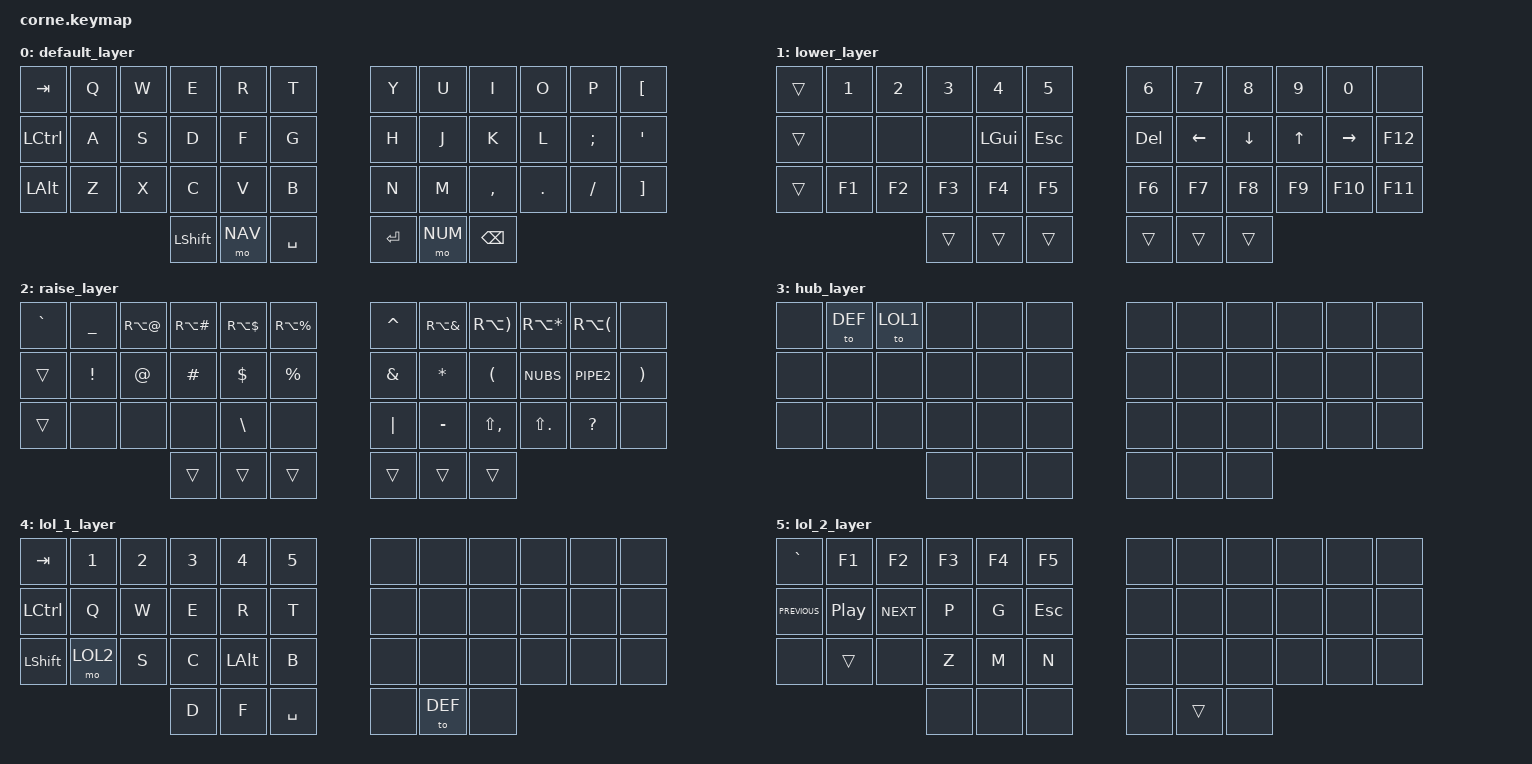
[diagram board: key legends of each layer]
/*
 * Copyright (c) 2020 The ZMK Contributors
 *
 * SPDX-License-Identifier: MIT
 */

#include <behaviors.dtsi>
#include <dt-bindings/zmk/keys.h>
#include <dt-bindings/zmk/bt.h>

#define ___ &trans

#define eAT RA(AT)
#define eCLN LS(DOT)
#define eDLLR RA(DLLR)
#define eEURO RA(PRCNT)
#define eHASH RA(HASH)
#define eLBKT RA(STAR)
#define eLBRC RA(AMPS)
#define eRBKT RA(LPAR)
#define eRBRC RA(RPAR)
#define eSEMI LS(COMMA)
#define VOLU C_VOLUME_UP
#define VOLD C_VOLUME_DOWN
#define MUTE C_MUTE
#define PLAY C_PLAY_PAUSE
#define NEXT C_NEXT
#define PREV C_PREVIOUS

#define DEF 0
#define NUM 1
#define NAV 2
#define HUB 3
#define LOL1 4
#define LOL2 5

/ {
        conditional_layers {
                compatible = "zmk,conditional-layers";
                tri_layer {
                        if-layers = <NUM NAV>;
                        then-layer = <HUB>;
                };
        };
        keymap {
                compatible = "zmk,keymap";

                default_layer {
                        bindings = <
// ┌───────────┬───────────┬───────────┬───────────┬───────────┬───────────┐   ┌───────────┬───────────┬───────────┬───────────┬───────────┬───────────┐
// │ TAB       │ Q         │ W         │ E         │ R         │ T         │   │ Y         │ U         │ I         │ O         │ P         │ Ü         │
     &kp TAB     &kp Q       &kp W       &kp E       &kp R       &kp T           &kp Y       &kp U       &kp I       &kp O       &kp P       &kp LBKT
// ├───────────┼───────────┼───────────┼───────────┼───────────┼───────────┤   ├───────────┼───────────┼───────────┼───────────┼───────────┼───────────┤
// │ CTRL      │ A         │ S         │ D         │ F         │ G         │   │ H         │ J         │ K         │ L         │ Ö         │ Ä         │
     &kp LCTRL   &kp A       &kp S       &kp D       &kp F       &kp G           &kp H       &kp J       &kp K       &kp L       &kp SEMI    &kp SQT
// ├───────────┼───────────┼───────────┼───────────┼───────────┼───────────┤   ├───────────┼───────────┼───────────┼───────────┼───────────┼───────────┤
// │ LALT      │ Z         │ X         │ C         │ V         │ B         │   │ N         │ M         │ ,         │ .         │ -         │ Õ         │
     &kp LALT    &kp Z       &kp X       &kp C       &kp V       &kp B           &kp N       &kp M       &kp COMMA   &kp DOT     &kp FSLH    &kp RBKT
// └───────────┴───────────┴───────────┼───────────┼───────────┼───────────┤   ├───────────┼───────────┼───────────┼───────────┴───────────┴───────────┘
//                                     │ SHFT      │ RSE       │ SPC       │   │ ENT       │ LWR       │ BKSP      │
                                         &kp LSHFT   &mo NAV     &kp SPACE       &kp RET     &mo NUM     &kp BSPC
//                                     └───────────┴───────────┴───────────┘   └───────────┴───────────┴───────────┘
                        >;
                };
                lower_layer {
                        bindings = <
// ┌───────────┬───────────┬───────────┬───────────┬───────────┬───────────┐   ┌───────────┬───────────┬───────────┬───────────┬───────────┬───────────┐
// │ TAB       │ 1         │ 2         │ 3         │ 4         │ 5         │   │ 6         │ 7         │ 8         │ 9         │ 0         │           │
     ___         &kp N1      &kp N2      &kp N3      &kp N4      &kp N5          &kp N6      &kp N7      &kp N8      &kp N9      &kp N0      &none
// ├───────────┼───────────┼───────────┼───────────┼───────────┼───────────┤   ├───────────┼───────────┼───────────┼───────────┼───────────┼───────────┤
// │ CTRL      │           │           │           │ LGUI      │ ESC       │   │ DEL       │ ←         │ ↓         │ ↑         │ →         │           │
     ___         &none       &none       &none       &kp LGUI    &kp ESC         &kp DEL     &kp LEFT    &kp DOWN    &kp UP      &kp RIGHT   &kp F12
// ├───────────┼───────────┼───────────┼───────────┼───────────┼───────────┤   ├───────────┼───────────┼───────────┼───────────┼───────────┼───────────┤
// │ LALT      │ F1        │ F2        │ F3        │ F4        │ F5        │   │ F6        │ F7        │ F8        │ F9        │ F10       │           │
     ___         &kp F1      &kp F2      &kp F3      &kp F4      &kp F5          &kp F6      &kp F7      &kp F8      &kp F9      &kp F10     &kp F11
// └───────────┴───────────┴───────────┼───────────┼───────────┼───────────┤   ├───────────┼───────────┼───────────┼───────────┴───────────┴───────────┘
//                                     │ SHFT      │ RSE       │ SPC       │   │ ENT       │ LWR       │ BKSP      │
                                         ___         ___         ___             ___         ___         ___
//                                     └───────────┴───────────┴───────────┘   └───────────┴───────────┴───────────┘
                        >;
                };

                raise_layer {
                        bindings = <
// ┌───────────┬───────────┬───────────┬───────────┬───────────┬───────────┐   ┌───────────┬───────────┬───────────┬───────────┬───────────┬───────────┐
// │ ˇ         │ ?         │ @         │ £         │ $         │ €         │   │ &         │ {         │ {         │ [         │ ]         │           │
     &kp GRAVE   &kp UNDER   &kp eAT     &kp eHASH   &kp eDLLR   &kp eEURO       &kp CARET   &kp eLBRC   &kp eRBRC   &kp eLBKT   &kp eRBKT   &none
// ├───────────┼───────────┼───────────┼───────────┼───────────┼───────────┤   ├───────────┼───────────┼───────────┼───────────┼───────────┼───────────┤
// │ CTRL      │ !         │ "         │ #         │ ¤         │ %         │   │ /         │ (         │ )         │ <         │ >         │ =         │
     ___         &kp EXCL    &kp AT      &kp HASH    &kp DLLR    &kp PRCNT       &kp AMPS    &kp STAR    &kp LPAR    &kp NUBS    &kp PIPE2   &kp RPAR
// ├───────────┼───────────┼───────────┼───────────┼───────────┼───────────┤   ├───────────┼───────────┼───────────┼───────────┼───────────┼───────────┤
// │ LALT      │           │           │           │ '         │           │   │ *         │ +         │ ;         │ :         │ _         │           │
     ___         &none       &none       &none       &kp BSLH    &none           &kp PIPE    &kp MINUS   &kp eSEMI   &kp eCLN    &kp QMARK   &none
// └───────────┴───────────┴───────────┼───────────┼───────────┼───────────┤   ├───────────┼───────────┼───────────┼───────────┴───────────┴───────────┘
//                                     │ SHFT      │ RSE       │ SPC       │   │ ENT       │ LWR       │ BKSP      │
                                         ___         ___         ___             ___         ___         ___
//                                     └───────────┴───────────┴───────────┘   └───────────┴───────────┴───────────┘
                        >;
                };

                hub_layer {
                        bindings = <
// ┌───────────┬───────────┬───────────┬───────────┬───────────┬───────────┐   ┌───────────┬───────────┬───────────┬───────────┬───────────┬───────────┐
// │           │ DEF       │ LOL       │           │           │           │   │           │           │           │           │           │           │
     &none       &to DEF     &to LOL1    &none       &none       &none           &none       &none       &none       &none       &none       &none
// ├───────────┼───────────┼───────────┼───────────┼───────────┼───────────┤   ├───────────┼───────────┼───────────┼───────────┼───────────┼───────────┤
// │           │           │           │           │           │           │   │           │           │           │           │           │           │
     &none       &none       &none       &none       &none       &none           &none       &none       &none       &none       &none       &none
// ├───────────┼───────────┼───────────┼───────────┼───────────┼───────────┤   ├───────────┼───────────┼───────────┼───────────┼───────────┼───────────┤
// │           │           │           │           │           │           │   │           │           │           │           │           │           │
     &none       &none       &none       &none       &none       &none           &none       &none       &none       &none       &none       &none
// └───────────┴───────────┴───────────┼───────────┼───────────┼───────────┤   ├───────────┼───────────┼───────────┼───────────┴───────────┴───────────┘
//                                     │           │           │           │   │           │           │           │
                                         &none       &none       &none           &none       &none       &none
//                                     └───────────┴───────────┴───────────┘   └───────────┴───────────┴───────────┘
                        >;
                };

                lol_1_layer {
                        bindings = <
// ┌───────────┬───────────┬───────────┬───────────┬───────────┬───────────┐   ┌───────────┬───────────┬───────────┬───────────┬───────────┬───────────┐
// │ TAB       │ 1         │ 2         │ 3         │ 4         │ 5         │   │           │           │           │           │           │           │
     &kp TAB     &kp N1      &kp N2      &kp N3      &kp N4      &kp N5          &none       &none       &none       &none       &none       &none
// ├───────────┼───────────┼───────────┼───────────┼───────────┼───────────┤   ├───────────┼───────────┼───────────┼───────────┼───────────┼───────────┤
// │ CTRL      │ Q         │ W         │ E         │ R         │ T         │   │           │           │           │           │           │           │
     &kp LCTRL   &kp Q       &kp W       &kp E       &kp R       &kp T           &none       &none       &none       &none       &none       &none
// ├───────────┼───────────┼───────────┼───────────┼───────────┼───────────┤   ├───────────┼───────────┼───────────┼───────────┼───────────┼───────────┤
// │ SHFT      │ LOL       │ S         │ C         │ LALT      │ B         │   │           │           │           │           │           │           │
     &kp LSHFT   &mo LOL2    &kp S       &kp C       &kp LALT    &kp B           &none       &none       &none       &none       &none       &none
// └───────────┴───────────┴───────────┼───────────┼───────────┼───────────┤   ├───────────┼───────────┼───────────┼───────────┴───────────┴───────────┘
//                                     │ D         │ F         │ SPC       │   │           │ DEF       │           │
                                         &kp D       &kp F       &kp SPACE       &none       &to DEF     &none
//                                     └───────────┴───────────┴───────────┘   └───────────┴───────────┴───────────┘
                        >;
                };

                lol_2_layer {
                        bindings = <
// ┌───────────┬───────────┬───────────┬───────────┬───────────┬───────────┐   ┌───────────┬───────────┬───────────┬───────────┬───────────┬───────────┐
// │ ˇ         │ F1        │ F2        │ F3        │ F4        │ F5        │   │           │           │           │           │           │           │
     &kp GRAVE   &kp F1      &kp F2      &kp F3      &kp F4      &kp F5          &none       &none       &none       &none       &none       &none
// ├───────────┼───────────┼───────────┼───────────┼───────────┼───────────┤   ├───────────┼───────────┼───────────┼───────────┼───────────┼───────────┤
// │           │           │           │ P         │ G         │ ESC       │   │           │           │           │           │           │           │
     &kp PREV    &kp PLAY    &kp NEXT    &kp P       &kp G       &kp ESC         &none       &none       &none       &none       &none       &none
// ├───────────┼───────────┼───────────┼───────────┼───────────┼───────────┤   ├───────────┼───────────┼───────────┼───────────┼───────────┼───────────┤
// │           │ LOL       │           │ Z         │ M         │ N         │   │           │           │           │           │           │           │
     &none       ___         &none       &kp Z       &kp M       &kp N           &none       &none       &none       &none       &none       &none
// └───────────┴───────────┴───────────┼───────────┼───────────┼───────────┤   ├───────────┼───────────┼───────────┼───────────┴───────────┴───────────┘
//                                     │           │           │           │   │           │ DEF       │           │
                                         &none       &none       &none           &none       ___         &none
//                                     └───────────┴───────────┴───────────┘   └───────────┴───────────┴───────────┘
                        >;
                };

        };
};



// for coping empty layer
// ┌───────────┬───────────┬───────────┬───────────┬───────────┬───────────┐   ┌───────────┬───────────┬───────────┬───────────┬───────────┬───────────┐
// │           │           │           │           │           │           │   │           │           │           │           │           │           │

// ├───────────┼───────────┼───────────┼───────────┼───────────┼───────────┤   ├───────────┼───────────┼───────────┼───────────┼───────────┼───────────┤
// │           │           │           │           │           │           │   │           │           │           │           │           │           │

// ├───────────┼───────────┼───────────┼───────────┼───────────┼───────────┤   ├───────────┼───────────┼───────────┼───────────┼───────────┼───────────┤
// │           │           │           │           │           │           │   │           │           │           │           │           │           │

// └───────────┴───────────┴───────────┼───────────┼───────────┼───────────┤   ├───────────┼───────────┼───────────┼───────────┴───────────┴───────────┘
//                                     │           │           │           │   │           │           │           │

//                                     └───────────┴───────────┴───────────┘   └───────────┴───────────┴───────────┘
